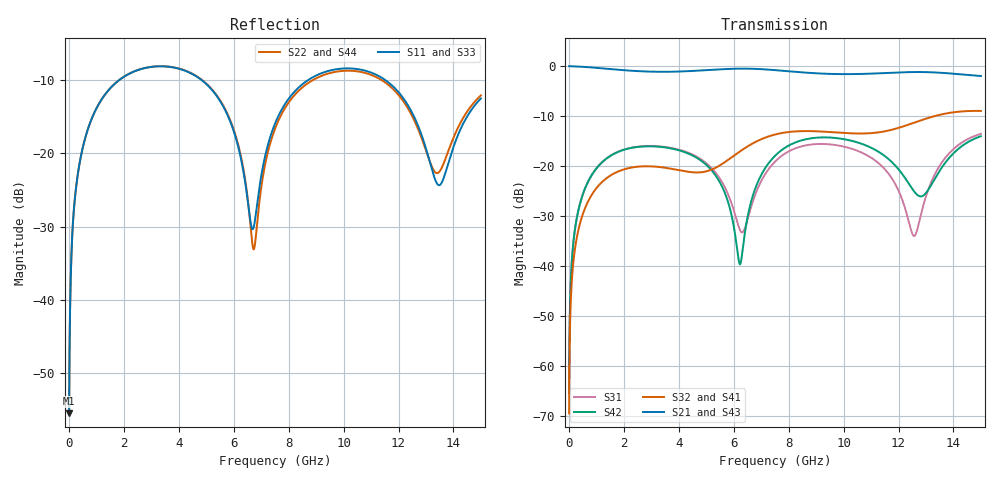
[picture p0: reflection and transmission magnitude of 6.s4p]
! Created with skrf 1.8.0 (http://scikit-rf.org).
# GHz S RI R 50.0
!freq ReS11 ImS11 ReS12 ImS12 ReS13 ImS13
! ReS14 ImS14
! ReS21 ImS21 ReS22 ImS22 ReS23 ImS23
! ReS24 ImS24
! ReS31 ImS31 ReS32 ImS32 ReS33 ImS33
! ReS34 ImS34
! ReS41 ImS41 ReS42 ImS42 ReS43 ImS43
! ReS44 ImS44
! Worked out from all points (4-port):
!   2499 points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, 5 MHz to 15 GHz, reference 50 ohm
!   strongest paths, dB at 5 MHz, 3.476 GHz, 7.19 GHz, 11.1 GHz, 15 GHz:
!     S21: 0.0, -1.1, -0.7, -1.5, -2.0
!     S43: 0.0, -1.1, -0.7, -1.5, -2.0
!     S32: -69.4, -20.3, -14.2, -13.3, -9.0
!     S41: -69.4, -20.3, -14.2, -13.3, -8.9
!     S42: -65.4, -16.2, -20.0, -16.6, -14.0
!     S31: -65.4, -16.1, -21.2, -18.6, -13.5
!   lowest |S11| = -55.5 dB at 5 MHz (marker M1), VSWR 1.00, Z = 50.1 + j0.102 ohm
!   |S11| at or under -10 dB: start of sweep to 1.831 GHz; 4.828 GHz to 8.711 GHz (3.882 GHz wide, 57.3 % of centre); 11.52 GHz to end of sweep
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0.005  0.00134 0.00102  0.9986 -0.00261  6.65e-05 0.000535  -6.46e-05 -0.000334
       0.9986 -0.00261  0.00134 0.00102  -6.46e-05 -0.000334  6.65e-05 0.000535
       6.65e-05 0.000535  -6.46e-05 -0.000334  0.00134 0.00102  0.9986 -0.00261
       -6.46e-05 -0.000334  6.65e-05 0.000535  0.9986 -0.00261  0.00134 0.00102
0.4126719  0.0261 0.0872  0.9639 -0.2127  0.0126 0.0415  -0.0104 -0.0255
           0.9639 -0.2127  0.0261 0.0872  -0.0104 -0.0255  0.0125 0.0415
           0.0126 0.0415  -0.0104 -0.0255  0.0261 0.0872  0.9639 -0.2127
           -0.0104 -0.0255  0.0125 0.0415  0.9639 -0.2127  0.0261 0.0872
1.925802  0.2729 0.1779  0.5418 -0.7353  0.1313 0.0599  -0.0915 -0.00472
          0.5418 -0.7353  0.2735 0.1776  -0.0914 -0.0048  0.1296 0.0623
          0.1313 0.0599  -0.0914 -0.0048  0.273 0.1779  0.5418 -0.7353
          -0.0915 -0.00472  0.1296 0.0623  0.5418 -0.7353  0.2735 0.1777
6.677782  0.0302 -0.00294  -0.9373 -0.0775  -0.0151 0.0401  -0.00856 0.1678
          -0.9373 -0.0775  0.0219 -0.0101  -0.0103 0.1678  0.0218 0.0438
          -0.0151 0.0401  -0.0103 0.1678  0.0281 -0.00415  -0.9373 -0.0779
          -0.00856 0.1678  0.0218 0.0438  -0.9373 -0.0779  0.0242 -0.0111
10.76699  0.3552 -0.093  0.1306 0.8268  0.1087 -0.0756  0.1936 -0.0878
          0.1306 0.8268  0.3474 -0.0695  0.1945 -0.0853  0.1057 -0.1245
          0.1087 -0.0756  0.1945 -0.0853  0.3558 -0.0903  0.1311 0.8268
          0.1936 -0.0878  0.1057 -0.1245  0.1311 0.8268  0.3464 -0.0727
12.57399  0.1133 -0.1354  0.7285 0.4806  -0.0197 -0.00378  0.1427 -0.2323
          0.7285 0.4806  0.1224 -0.1148  0.1461 -0.2301  -0.047 -0.0301
          -0.0197 -0.00378  0.1461 -0.2301  0.1159 -0.1362  0.7283 0.4804
          0.1427 -0.2323  -0.047 -0.0301  0.7283 0.4804  0.1221 -0.118
15  0.2014 0.1243  0.6742 -0.4241  0.1909 0.0889  -0.242 -0.2631
    0.6742 -0.4241  0.2127 0.1284  -0.2371 -0.2665  0.1758 0.0941
    0.1909 0.0889  -0.2371 -0.2665  0.1978 0.1197  0.676 -0.4247
    -0.242 -0.2631  0.1758 0.0941  0.676 -0.4247  0.2075 0.1213
